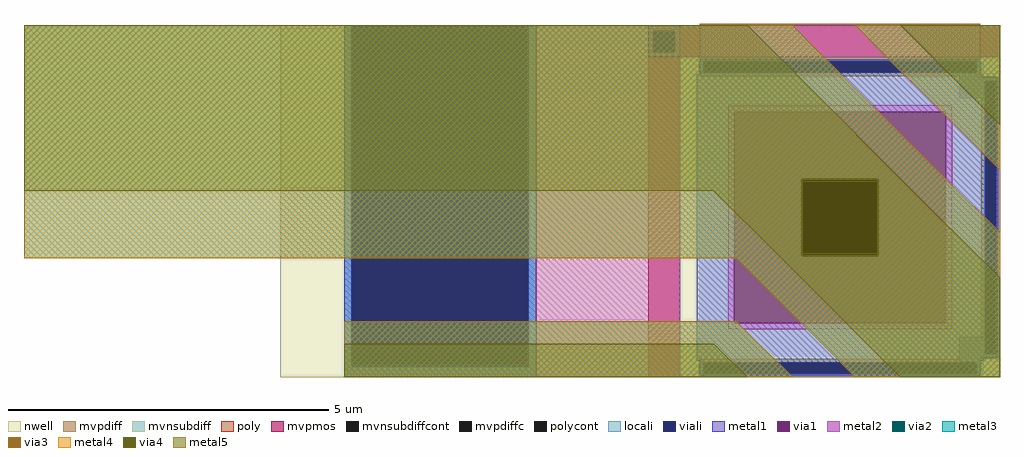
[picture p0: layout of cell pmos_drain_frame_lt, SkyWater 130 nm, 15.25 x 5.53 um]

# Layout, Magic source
magic
tech sky130A
<< nwell >>
rect -575 0 550 550
<< mvpmos >>
rect 81 500 519 550
<< mvpdiff >>
rect 81 550 519 553
rect 81 494 519 500
rect 81 477 87 494
rect 513 477 519 494
rect 81 471 519 477
rect 486 469 519 471
rect 486 463 550 469
rect 486 436 527 463
rect 521 64 527 436
rect 486 37 527 64
rect 544 37 550 463
rect 486 31 550 37
rect 486 29 519 31
rect 81 23 519 29
rect 81 6 87 23
rect 513 6 519 23
rect 81 0 519 6
<< mvpdiffc >>
rect 87 477 513 494
rect 527 37 544 463
rect 87 6 513 23
<< mvnsubdiff >>
rect -475 17 -463 550
rect -187 17 -175 550
rect -475 0 -175 17
<< mvnsubdiffcont >>
rect -463 17 -187 550
<< poly >>
rect 0 542 81 550
rect 0 508 8 542
rect 42 508 81 542
rect 0 500 81 508
rect 519 500 550 550
rect 0 0 50 500
<< polycont >>
rect 8 508 42 542
<< locali >>
rect -475 17 -463 550
rect -187 17 -175 550
rect 0 542 50 550
rect 0 508 8 542
rect 42 508 50 542
rect 0 500 50 508
rect 79 477 87 494
rect 513 477 521 494
rect 486 471 521 477
rect 486 463 544 471
rect 486 436 527 463
rect 486 37 527 64
rect 486 29 544 37
rect 486 23 521 29
rect -475 0 -175 17
rect 79 6 87 23
rect 513 6 521 23
<< viali >>
rect -463 19 -187 550
rect 8 508 42 542
rect 87 477 513 494
rect 527 37 544 463
rect 87 6 513 23
<< metal1 >>
rect -475 19 -463 550
rect -187 19 -175 550
rect 0 542 50 550
rect 0 508 8 542
rect 42 508 50 542
rect 0 500 50 508
rect 81 494 519 497
rect 81 477 87 494
rect 513 477 519 494
rect 81 474 519 477
rect 76 469 524 474
rect 76 463 547 469
rect 76 415 527 463
rect 76 85 135 415
rect 465 85 527 415
rect 76 37 527 85
rect 544 37 547 463
rect 76 31 547 37
rect 76 26 524 31
rect -475 0 -175 19
rect 81 23 519 26
rect 81 6 87 23
rect 513 6 519 23
rect 81 3 519 6
<< via1 >>
rect 8 508 42 542
rect 135 85 465 415
<< metal2 >>
rect -175 542 550 550
rect -175 508 8 542
rect 42 508 550 542
rect -175 500 550 508
rect -175 0 50 500
rect 125 415 475 425
rect 125 85 135 415
rect 465 85 475 415
rect 125 75 475 85
<< via2 >>
rect 240 190 360 310
<< metal3 >>
rect -975 510 226 550
tri 226 510 266 550 sw
tri 324 510 364 550 ne
rect 364 510 550 550
rect -975 412 266 510
tri 266 412 364 510 sw
tri 364 412 462 510 ne
rect 462 412 550 510
rect -975 314 364 412
tri 364 314 462 412 sw
tri 462 324 550 412 ne
rect -975 310 462 314
rect -975 190 240 310
rect 360 226 462 310
tri 462 226 550 314 sw
rect 360 190 550 226
rect -975 186 550 190
tri 138 88 236 186 ne
rect 236 88 550 186
rect -475 0 138 88
tri 138 0 226 88 sw
tri 236 0 324 88 ne
rect 324 0 550 88
<< via3 >>
rect 240 190 360 310
<< metal4 >>
rect -975 510 226 550
tri 226 510 266 550 sw
tri 324 510 364 550 ne
rect 364 510 550 550
rect -975 412 266 510
tri 266 412 364 510 sw
tri 364 412 462 510 ne
rect 462 412 550 510
rect -975 314 364 412
tri 364 314 462 412 sw
tri 462 324 550 412 ne
rect -975 310 462 314
rect -975 190 240 310
rect 360 226 462 310
tri 462 226 550 314 sw
rect 360 190 550 226
rect -975 186 550 190
tri 138 88 236 186 ne
rect 236 88 550 186
rect -475 0 138 88
tri 138 0 226 88 sw
tri 236 0 324 88 ne
rect 324 0 550 88
<< via4 >>
rect 240 190 360 310
<< metal5 >>
rect -975 447 156 550
tri 156 447 259 550 sw
tri 394 447 497 550 ne
rect 497 447 550 550
rect -975 310 259 447
tri 259 310 396 447 sw
tri 497 394 550 447 ne
rect -975 292 240 310
tri 102 190 204 292 ne
rect 204 190 240 292
rect 360 190 396 310
rect -475 0 103 53
tri 103 0 156 53 sw
tri 204 0 394 190 ne
rect 394 156 396 190
tri 396 156 550 310 sw
rect 394 0 550 156
<< end >>
